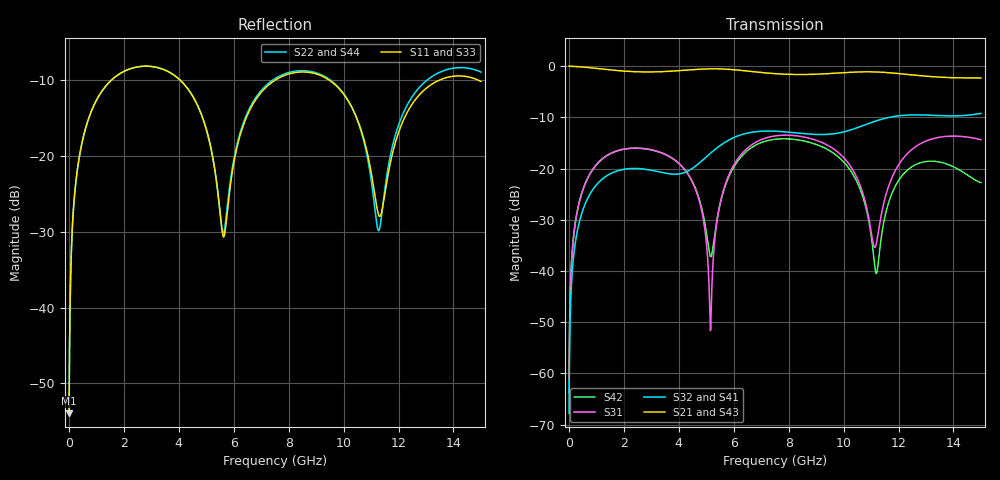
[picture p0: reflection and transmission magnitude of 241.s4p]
! Created with skrf 1.8.0 (http://scikit-rf.org).
# GHz S RI R 50.0
!freq ReS11 ImS11 ReS12 ImS12 ReS13 ImS13
! ReS14 ImS14
! ReS21 ImS21 ReS22 ImS22 ReS23 ImS23
! ReS24 ImS24
! ReS31 ImS31 ReS32 ImS32 ReS33 ImS33
! ReS34 ImS34
! ReS41 ImS41 ReS42 ImS42 ReS43 ImS43
! ReS44 ImS44
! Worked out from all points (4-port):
!   2499 points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, 5 MHz to 15 GHz, reference 50 ohm
!   strongest paths, dB at 5 MHz, 3.476 GHz, 7.19 GHz, 11.1 GHz, 15 GHz:
!     S21: 0.0, -1.1, -1.3, -1.1, -2.3
!     S43: 0.0, -1.1, -1.3, -1.1, -2.3
!     S32: -67.8, -20.9, -12.7, -10.9, -9.2
!     S41: -67.8, -21.0, -12.8, -10.9, -9.2
!     S31: -63.8, -17.2, -14.0, -35.1, -14.4
!     S42: -63.8, -17.2, -14.6, -37.3, -22.8
!   lowest |S11| = -54.0 dB at 5 MHz (marker M1), VSWR 1.00, Z = 50.2 + j0.121 ohm
!   |S11| at or under -10 dB: start of sweep to 1.536 GHz; 4.059 GHz to 7.493 GHz (3.435 GHz wide, 59.5 % of centre); 9.489 GHz to 13.47 GHz (3.977 GHz wide, 34.6 % of centre) (the widest 3 of 4)
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0.005  0.00159 0.00121  0.9984 -0.0031  8.02e-05 0.00064  -7.78e-05 -0.0004
       0.9984 -0.0031  0.00159 0.00121  -7.78e-05 -0.0004  8.02e-05 0.00064
       8.02e-05 0.00064  -7.78e-05 -0.0004  0.00159 0.00121  0.9984 -0.0031
       -7.78e-05 -0.0004  8.02e-05 0.00064  0.9984 -0.0031  0.00159 0.00121
0.3626511  0.0288 0.091  0.9604 -0.2224  0.0138 0.0434  -0.0114 -0.0266
           0.9604 -0.2224  0.0288 0.091  -0.0114 -0.0266  0.0137 0.0434
           0.0138 0.0434  -0.0114 -0.0266  0.0287 0.091  0.9603 -0.2224
           -0.0114 -0.0266  0.0137 0.0434  0.9603 -0.2224  0.0288 0.091
1.619545  0.2742 0.1768  0.5399 -0.7353  0.1312 0.0604  -0.0916 -0.0047
          0.5399 -0.7353  0.2744 0.1766  -0.0918 -0.00446  0.1304 0.0615
          0.1312 0.0604  -0.0918 -0.00446  0.2741 0.1769  0.5399 -0.7353
          -0.0916 -0.0047  0.1304 0.0615  0.5399 -0.7353  0.2745 0.1765
5.152147  0.0556 -0.1034  -0.8831 -0.3238  -0.00258 -0.000434  -0.0459 0.1332
          -0.8831 -0.3238  0.0562 -0.1015  -0.0426 0.1343  -0.0133 -0.00374
          -0.00258 -0.000434  -0.0426 0.1343  0.0562 -0.1031  -0.8831 -0.3236
          -0.0459 0.1332  -0.0133 -0.00374  -0.8831 -0.3236  0.0555 -0.1017
8.803668  0.3524 -0.0472  0.0265 0.8294  0.1655 -0.1051  0.199 -0.0762
          0.0265 0.8294  0.3572 -0.0588  0.1991 -0.0853  0.1622 -0.0751
          0.1655 -0.1051  0.1991 -0.0853  0.3517 -0.0429  0.0267 0.829
          0.199 -0.0762  0.1622 -0.0751  0.0267 0.829  0.3594 -0.063
11.2797  0.0401 -0.00667  0.8621 0.1448  0.0245 0.00641  0.0486 -0.293
         0.8621 0.1448  0.0322 0.000977  0.0317 -0.2954  -0.00581 0.012
         0.0245 0.00641  0.0317 -0.2954  0.0481 -0.00569  0.862 0.1444
         0.0486 -0.293  -0.00581 0.012  0.862 0.1444  0.0239 -0.000246
15  0.3085 -0.0412  -0.1887 -0.7436  -0.0342 -0.1883  -0.3364 0.0785
    -0.1887 -0.7436  0.3468 -0.0924  -0.3301 0.1024  -0.0231 -0.069
    -0.0342 -0.1883  -0.3301 0.1024  0.3129 -0.042  -0.1882 -0.7421
    -0.3364 0.0785  -0.0231 -0.069  -0.1882 -0.7421  0.3513 -0.0903
